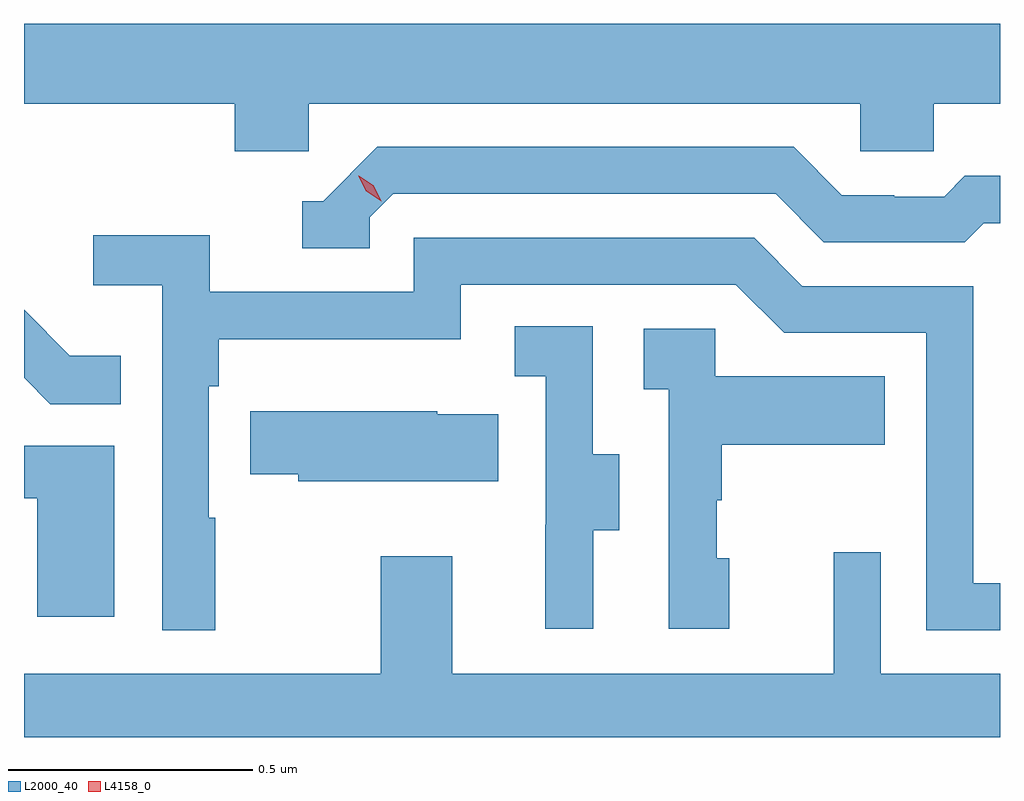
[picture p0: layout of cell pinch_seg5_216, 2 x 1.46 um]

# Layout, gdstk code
import gdstk
lib = gdstk.Library(unit=1e-6, precision=1e-09)
def P(c, l, *ps):  # polygons
    for p in ps: c.add(gdstk.Polygon(p, *l))
L2000_40 = (2000, 40)
L4158_0 = (4158, 0)

pinch_seg5_216 = lib.new_cell('pinch_seg5_216')
P(pinch_seg5_216, L2000_40, [(1009.722,914.036),(1010.853,914.036),(1010.853,913.938),(1011.003,913.938),(1011.003,914.036),(1011.139,914.036),(1011.139,914.2),(1009.139,914.2),(1009.139,914.036),(1009.571,914.036),(1009.571,913.938),(1009.722,913.938)],
  [(1009.848,913.803),(1009.896,913.851),(1010.679,913.851),(1010.778,913.752),(1011.067,913.752),(1011.106,913.791),(1011.139,913.791),(1011.139,913.888),(1011.067,913.888),(1011.025,913.845),(1010.922,913.845),(1010.922,913.848),(1010.815,913.848),(1010.716,913.947),(1009.863,913.947),(1009.752,913.836),(1009.709,913.836),(1009.709,913.74),(1009.848,913.74)],
  [(1009.531,913.187),(1009.518,913.187),(1009.518,913.457),(1009.538,913.457),(1009.538,913.553),(1010.034,913.553),(1010.034,913.665),(1010.598,913.665),(1010.697,913.566),(1010.988,913.566),(1010.988,912.957),(1011.139,912.957),(1011.139,913.053),(1011.084,913.053),(1011.084,913.662),(1010.734,913.662),(1010.635,913.761),(1009.938,913.761),(1009.938,913.65),(1009.52,913.65),(1009.52,913.766),(1009.281,913.766),(1009.281,913.664),(1009.422,913.664),(1009.422,912.957),(1009.531,912.957)],
  [(1009.337,913.519),(1009.233,913.519),(1009.139,913.613),(1009.139,913.474),(1009.193,913.42),(1009.337,913.42)],
  [(1010.305,913.162),(1010.359,913.162),(1010.359,913.317),(1010.304,913.317),(1010.304,913.58),(1010.145,913.58),(1010.145,913.477),(1010.208,913.477),(1010.208,913.173),(1010.207,913.173),(1010.207,912.96),(1010.305,912.96)],
  [(1010.584,913.104),(1010.559,913.104),(1010.559,913.223),(1010.569,913.223),(1010.569,913.337),(1010.903,913.337),(1010.903,913.477),(1010.556,913.477),(1010.556,913.575),(1010.409,913.575),(1010.409,913.451),(1010.46,913.451),(1010.46,912.96),(1010.584,912.96)],
  [(1010.111,913.399),(1009.986,913.399),(1009.986,913.405),(1009.603,913.405),(1009.603,913.276),(1009.701,913.276),(1009.701,913.262),(1010.111,913.262)],
  [(1009.324,913.335),(1009.139,913.335),(1009.139,913.227),(1009.166,913.227),(1009.166,912.984),(1009.324,912.984)],
  [(1011.139,912.868),(1010.895,912.868),(1010.895,913.117),(1010.798,913.117),(1010.798,912.868),(1010.017,912.868),(1010.017,913.108),(1009.87,913.108),(1009.87,912.868),(1009.139,912.868),(1009.139,912.737),(1011.139,912.737)])
P(pinch_seg5_216, L4158_0, [(1009.871,913.836),(1009.84,913.856),(1009.824,913.888),(1009.824,913.888),(1009.825,913.888),(1009.855,913.869),(1009.871,913.837),(1009.871,913.836)])

lib.write_gds('pinch_seg5_216.gds')
